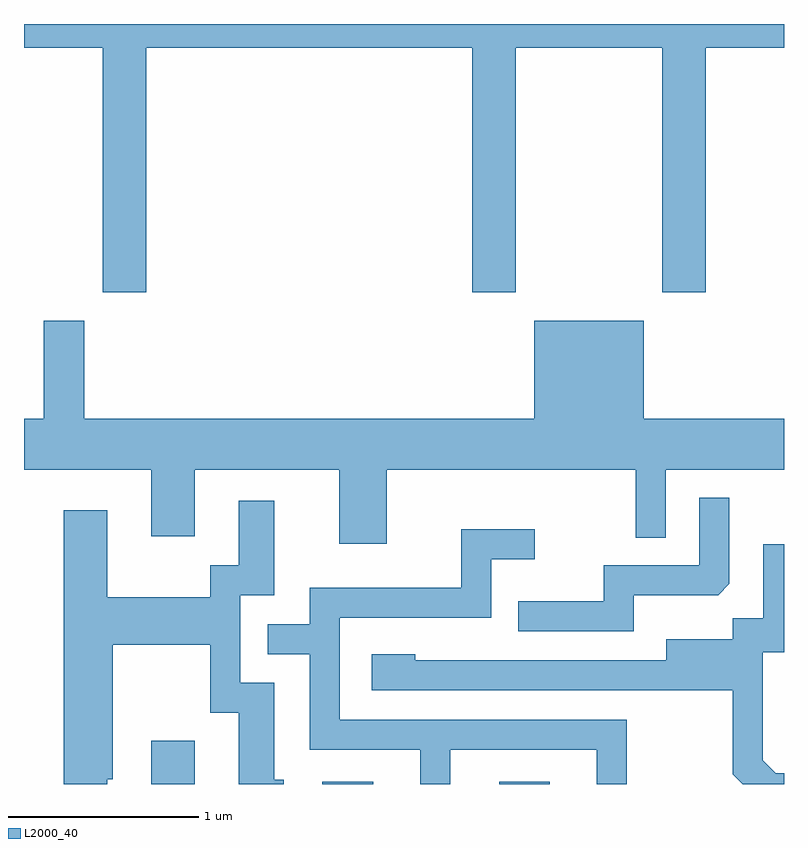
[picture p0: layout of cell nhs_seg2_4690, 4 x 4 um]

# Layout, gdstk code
import gdstk
lib = gdstk.Library(unit=1e-6, precision=1e-09)
def R(c, l, rs):  # rectangles x0, y0, x1, y1
    for r in rs: c.add(gdstk.rectangle(r[:2], r[2:], *l))
def P(c, l, *ps):  # polygons
    for p in ps: c.add(gdstk.Polygon(p, *l))
L2000_40 = (2000, 40)

nhs_seg2_4690 = lib.new_cell('nhs_seg2_4690')
R(nhs_seg2_4690, L2000_40, [(324.281,1017.802,324.509,1018.029), (325.181,1017.802,325.449,1017.814), (326.111,1017.802,326.379,1017.814)])
P(nhs_seg2_4690, L2000_40, [(324.254,1021.676),(325.971,1021.676),(325.971,1020.391),(326.199,1020.391),(326.199,1021.676),(326.971,1021.676),(326.971,1020.391),(327.199,1020.391),(327.199,1021.676),(327.611,1021.676),(327.611,1021.802),(323.611,1021.802),(323.611,1021.676),(324.026,1021.676),(324.026,1020.391),(324.254,1020.391)],
  [(325.519,1019.456),(326.831,1019.456),(326.831,1019.098),(326.989,1019.098),(326.989,1019.456),(327.611,1019.456),(327.611,1019.724),(326.874,1019.724),(326.874,1020.239),(326.296,1020.239),(326.296,1019.724),(323.929,1019.724),(323.929,1020.239),(323.716,1020.239),(323.716,1019.724),(323.611,1019.724),(323.611,1019.456),(324.281,1019.456),(324.281,1019.106),(324.509,1019.106),(324.509,1019.456),(325.271,1019.456),(325.271,1019.066),(325.519,1019.066)],
  [(326.819,1018.796),(327.264,1018.796),(327.324,1018.857),(327.324,1019.308),(327.166,1019.308),(327.166,1018.954),(326.661,1018.954),(326.661,1018.764),(326.213,1018.764),(326.213,1018.606),(326.819,1018.606)],
  [(324.049,1017.826),(324.079,1017.826),(324.079,1018.536),(324.591,1018.536),(324.591,1018.176),(324.741,1018.176),(324.741,1017.802),(324.978,1017.802),(324.978,1017.824),(324.929,1017.824),(324.929,1018.334),(324.749,1018.334),(324.749,1018.796),(324.929,1018.796),(324.929,1019.294),(324.741,1019.294),(324.741,1018.954),(324.591,1018.954),(324.591,1018.784),(324.049,1018.784),(324.049,1019.244),(323.821,1019.244),(323.821,1017.802),(324.049,1017.802)],
  [(325.854,1017.981),(326.626,1017.981),(326.626,1017.802),(326.784,1017.802),(326.784,1018.139),(325.274,1018.139),(325.274,1018.676),(326.069,1018.676),(326.069,1018.986),(326.298,1018.986),(326.298,1019.144),(325.911,1019.144),(325.911,1018.834),(325.116,1018.834),(325.116,1018.644),(324.893,1018.644),(324.893,1018.486),(325.116,1018.486),(325.116,1017.981),(325.696,1017.981),(325.696,1017.802),(325.854,1017.802)],
  [(327.611,1017.859),(327.567,1017.859),(327.499,1017.927),(327.499,1018.496),(327.611,1018.496),(327.611,1019.063),(327.501,1019.063),(327.501,1018.674),(327.341,1018.674),(327.341,1018.564),(326.991,1018.564),(326.991,1018.454),(325.669,1018.454),(325.669,1018.484),(325.441,1018.484),(325.441,1018.296),(327.341,1018.296),(327.341,1017.854),(327.393,1017.802),(327.611,1017.802)])

lib.write_gds('nhs_seg2_4690.gds')
